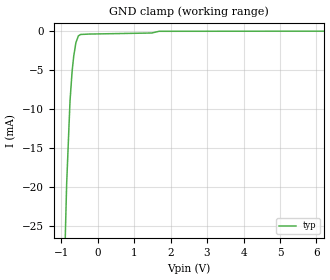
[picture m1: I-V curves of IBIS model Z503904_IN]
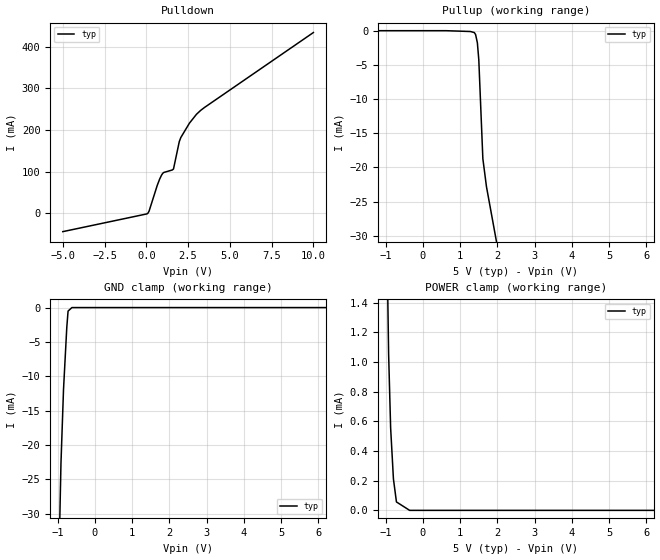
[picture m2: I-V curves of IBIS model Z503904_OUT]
| YOU ARE ONLY AUTHORIZED TO USE THIS SOFTWARE
| ACCORDING TO LICENSOR'S LICENSE RESTRICTIONS.
[IBIS Ver] 3.1
[File Name] mc54f10j.ibs
[File Rev] 2.0
[Source] Measured and created by ICX Technology
[Date] Friday 7/14/00 9:08:02 AM
[Copyright]
| (C) COPYRIGHT 1993-2000
| MENTOR GRAPHICS CORPORATION
| ICX STANDARD LIBRARY, ICX PROJECT MODELING,
| ICX CUSTOM MODELING, ICX VENDOR MODEL
| ALL RIGHTS RESERVED.
| THE FOLLOWING ARE TRADEMARKS OR SERVICE MARKS OF
| MENTOR GRAPHICS CORPORATION:ICX (R), ICX STANDARD
| LIBRARY(R), ICX PROJECT MODELING(R), ICX CUSTOM
| MODELING(R), qualityIBIS(TM), MODELVIEWER(TM),
| AND MODELEDITOR(TM)
| ALL COPIES OF SOFTWARE, INCLUDING BUT NOT LIMITED TO
| ANY MODIFICATIONS, ENHANCEMENTS OR DERIVATIVE WORKS,
| MUST CONTAIN ALL MENTOR GRAPHICS CORPORATION'S
| NOTICES AND LEGENDS, INCLUDING THOSE EMBEDDED IN
| SOFTWARE AND THOSE AFFIXED TO SOFTWARE MEDIUM
| AND CONTAINER, AS RECEIVED FROM MENTOR GRAPHICS
| CORPORATION.
|  ZAP Model Builder 2.7
[Component] MC54F10J
[Manufacturer] OnSemiconductor
[Package]
| variable   typ   min   max
R_pkg  .21ohms NA NA
L_pkg  4.543nH NA NA
C_pkg  1.8pF NA NA
[Pin] signal_name  model_name  R_pin  L_pin C_pin
1 A Z503904_IN .22 6.757n 2.434p
2 B Z503904_IN .212 4.757n 1.941p
3 A Z503904_IN .204 3.257n 1.448p
4 B Z503904_IN .196 2.257n .955p
5 C Z503904_IN .204 3.257n 1.448p
6 Y Z503904_OUT .212 4.757n 1.941p
7 GND GND .22 6.757n 2.434p
8 Y Z503904_OUT .22 6.757n 2.434p
9 A Z503904_IN .212 4.757n 1.941p
10 B Z503904_IN .204 3.257n 1.448p
11 C Z503904_IN .196 2.257n .955p
12 Y Z503904_OUT .204 3.257n 1.448p
13 C Z503904_IN .212 4.757n 1.941p
14 VCC POWER .22 6.757n 2.434p
| Models and submodels in the file (2): Z503904_IN (Input), Z503904_OUT (Output)
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| (C) COPYRIGHT 1993-2000
| MENTOR GRAPHICS CORPORATION
| ICX STANDARD LIBRARY, ICX PROJECT MODELING,
| ICX CUSTOM MODELING, ICX VENDOR MODEL
| ALL RIGHTS RESERVED.
| THE FOLLOWING ARE TRADEMARKS OR SERVICE MARKS OF
| MENTOR GRAPHICS CORPORATION:ICX (R), ICX STANDARD
| LIBRARY(R), ICX PROJECT MODELING(R), ICX CUSTOM
| MODELING(R), qualityIBIS(TM), MODELVIEWER(TM),
| AND MODELEDITOR(TM)
| ALL COPIES OF SOFTWARE, INCLUDING BUT NOT LIMITED TO
| ANY MODIFICATIONS, ENHANCEMENTS OR DERIVATIVE WORKS,
| MUST CONTAIN ALL MENTOR GRAPHICS CORPORATION'S
| NOTICES AND LEGENDS, INCLUDING THOSE EMBEDDED IN
| SOFTWARE AND THOSE AFFIXED TO SOFTWARE MEDIUM
| AND CONTAINER, AS RECEIVED FROM MENTOR GRAPHICS
| CORPORATION.
| Model Application Version 1.89 2/18/99.
[Model] Z503904_IN
Model_type Input
Vinl = 800.0mV
Vinh = 2.000V
C_comp 4.000pF NA NA
| variable typ   min   max
[Voltage Range] 5.000V NA NA
[GND Clamp Reference] 0.000V NA NA
[POWER Clamp Reference] 5.000V NA NA
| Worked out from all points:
|   GND clamp passes 1 mA (typ) near -0.56 V on its own axis
[GND Clamp]
-5V       -769.4mA   NA         NA
-848.4mV  -19.65mA   NA         NA
-756.7mV  -9.017mA   NA         NA
-698.2mV  -5.117mA   NA         NA
-654.3mV  -3.206mA   NA         NA
-595.2mV  -1.475mA   NA         NA
-526.4mV  -590.6uA   NA         NA
-463.6mV  -416.8uA   NA         NA
-231.8mV  -364.1uA   NA         NA
1.487V    -228.1uA   NA         NA
1.685V    -6.712uA   NA         NA
10V       18.72uA    NA         NA
[POWER Clamp]
-5V       0A         NA         NA
10V       0A         NA         NA
| (C) COPYRIGHT 1993-2000
| MENTOR GRAPHICS CORPORATION
| ICX STANDARD LIBRARY, ICX PROJECT MODELING,
| ICX CUSTOM MODELING, ICX VENDOR MODEL
| ALL RIGHTS RESERVED.
| THE FOLLOWING ARE TRADEMARKS OR SERVICE MARKS OF
| MENTOR GRAPHICS CORPORATION:ICX (R), ICX STANDARD
| LIBRARY(R), ICX PROJECT MODELING(R), ICX CUSTOM
| MODELING(R), qualityIBIS(TM), MODELVIEWER(TM),
| AND MODELEDITOR(TM)
| ALL COPIES OF SOFTWARE, INCLUDING BUT NOT LIMITED TO
| ANY MODIFICATIONS, ENHANCEMENTS OR DERIVATIVE WORKS,
| MUST CONTAIN ALL MENTOR GRAPHICS CORPORATION'S
| NOTICES AND LEGENDS, INCLUDING THOSE EMBEDDED IN
| SOFTWARE AND THOSE AFFIXED TO SOFTWARE MEDIUM
| AND CONTAINER, AS RECEIVED FROM MENTOR GRAPHICS
| CORPORATION.
| Model Application Version 1.89 2/18/99.
[Model] Z503904_OUT
Model_type Output
Vref=0.000V
Rref=500.0ohms
Cref=50.00pF
Vmeas=1.500V
C_comp 8.000pF NA NA
| variable typ   min   max
[Voltage Range] 5.000V NA NA
[POWER Clamp Reference] 5.000V NA NA
[Pullup Reference] 5.000V NA NA
[Pulldown Reference] 0.000V NA NA
[GND Clamp Reference] 0.000V NA NA
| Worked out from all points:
|   slope of the pulldown table from 0 to 0.75 V, typ, clamps not added: 9.52 ohm
|   slope of the pullup table from 0 to 0.75 V, typ, clamps not added: 32.5 kohm
|   GND clamp passes 1 mA (typ) near -0.73 V on its own axis
|   POWER clamp passes 1 mA (typ) near -0.91 V on its own axis
[GND Clamp]
-5V       -2.013A    NA         NA
-1.176V   -106.8mA   NA         NA
-1.069V   -62.93mA   NA         NA
-913.2mV  -22.7mA    NA         NA
-844.6mV  -11.92mA   NA         NA
-757mV    -2.914mA   NA         NA
-722.5mV  -516.7uA   NA         NA
-619.3mV  0A         NA         NA
10V       0A         NA         NA
[Pulldown]
-5V       -43.71mA   NA         NA
68.4mV    -430.7uA   NA         NA
165.2mV   5.617mA    NA         NA
653.6mV   67.24mA    NA         NA
908.2mV   91.62mA    NA         NA
1.037V    98.11mA    NA         NA
1.626V    106.5mA    NA         NA
1.973V    172.3mA    NA         NA
2.066V    182.1mA    NA         NA
2.583V    216.6mA    NA         NA
2.999V    237.6mA    NA         NA
10V       433.8mA    NA         NA
[Pullup]
-5V       16.89uA    NA         NA
625mV     16.89uA    NA         NA
1.279V    -103.8uA   NA         NA
1.382V    -258.5uA   NA         NA
1.417V    -545.9uA   NA         NA
1.465V    -1.761mA   NA         NA
1.503V    -4.244mA   NA         NA
1.612V    -18.73mA   NA         NA
1.709V    -22.83mA   NA         NA
10V       -271mA     NA         NA
[POWER Clamp]
-5V       125.9mA    NA         NA
-1.099V   4.857mA    NA         NA
-1.006V   2.539mA    NA         NA
-918mV    1.051mA    NA         NA
-864mV    555.8uA    NA         NA
-789mV    212uA      NA         NA
-708mV    56.71uA    NA         NA
-354mV    0A         NA         NA
10V       0A         NA         NA
[Ramp]
| variable typ min max
dV/dt_r 2.041/2.134n NA NA
dV/dt_f 2.041/423.0p NA NA
R_load = 500.0Ohms
